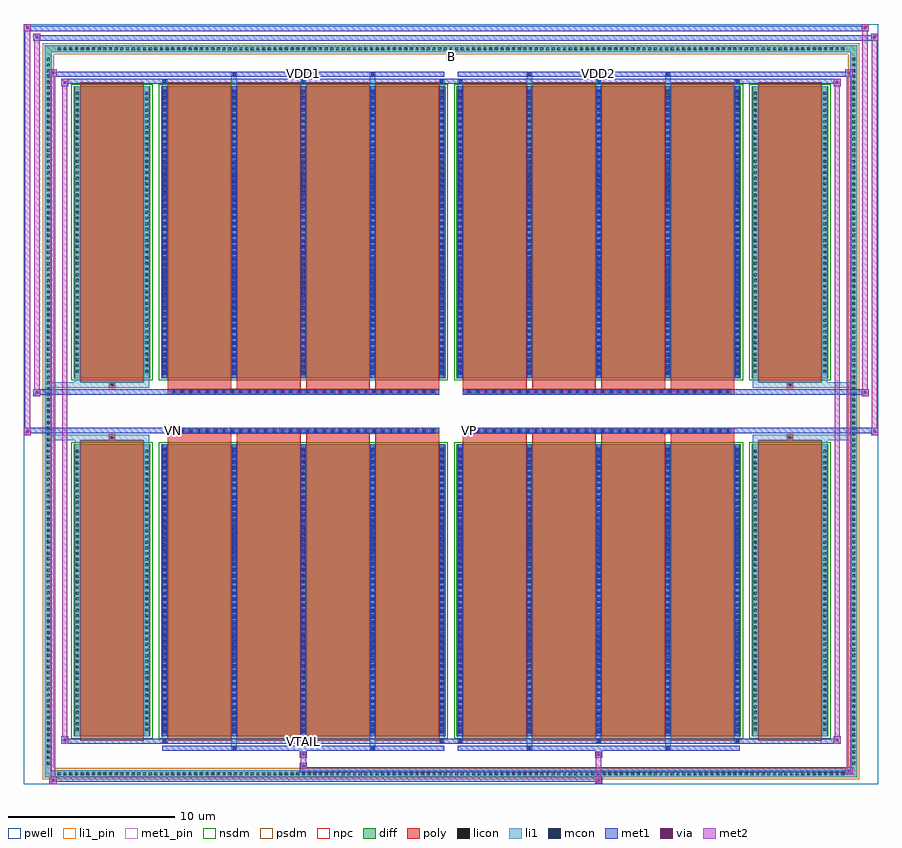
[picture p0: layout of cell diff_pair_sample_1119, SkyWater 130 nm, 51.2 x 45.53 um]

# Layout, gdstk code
import gdstk
lib = gdstk.Library(unit=1e-6, precision=5e-09)
def R(c, l, rs):  # rectangles x0, y0, x1, y1
    for r in rs: c.add(gdstk.rectangle(r[:2], r[2:], *l))
def A(c, l, x, y, w, h, nx, ny, dx, dy):  # array of equal rectangles
    R(c, l, [(x+i*dx, y+j*dy, x+i*dx+w, y+j*dy+h) for i in range(nx) for j in range(ny)])
def P(c, l, *ps):  # polygons
    for p in ps: c.add(gdstk.Polygon(p, *l))
pwell = (64, 44)
diff = (65, 20)
poly = (66, 20)
licon = (66, 44)
li1_pin = (67, 16)
li1 = (67, 20)
mcon = (67, 44)
met1_pin = (68, 16)
met1 = (68, 20)
via = (68, 44)
met2 = (69, 20)
nsdm = (93, 44)
psdm = (94, 20)
npc = (95, 20)

diff_pair_sample_1119 = lib.new_cell('diff_pair_sample_1119')
R(diff_pair_sample_1119, pwell, [(-25.6,-22.33,25.6,23.2), (-22.92,-20.52,-0.01,-0.8), (0.01,-20.52,22.92,-0.8), (-22.92,0.8,-0.01,20.52), (0.01,0.8,22.92,20.52)])
A(diff_pair_sample_1119, diff, -23.665, -21.93, 0.41, 0.41, 139, 2, 0.34, 43.45)
A(diff_pair_sample_1119, diff, -24.33, -21.285, 0.41, 0.41, 1, 125, 0, 0.34)
A(diff_pair_sample_1119, diff, 23.92, -21.285, 0.41, 0.41, 1, 125, 0, 0.34)
R(diff_pair_sample_1119, diff, [(-23.665,-21.93,23.665,-21.52), (-24.33,-21.285,-23.92,21.285), (23.92,-21.285,24.33,21.285), (-22.61,-19.475,-18.01,-1.985), (-17.37,-19.475,-0.32,-1.985), (0.32,-19.475,17.37,-1.985), (18.01,-19.475,22.61,-1.985), (-22.61,1.985,-18.01,19.475), (-17.37,1.985,-0.32,19.475), (0.32,1.985,17.37,19.475), (18.01,1.985,22.61,19.475), (-23.665,21.52,23.665,21.93)])
P(diff_pair_sample_1119, diff, [(24.33,21.93),(-24.33,21.93),(-24.33,-21.52),(-23.92,-21.52),(-23.92,21.52),(23.92,21.52),(23.92,-21.52),(-23.92,-21.52),(-24.33,-21.52),(-24.33,-21.93),(24.33,-21.93)])
A(diff_pair_sample_1119, poly, -16.98, -19.725, 3.82, 17.99, 4, 2, 4.15, 21.46)
A(diff_pair_sample_1119, poly, 0.71, -19.725, 3.82, 17.99, 4, 2, 4.15, 21.46)
A(diff_pair_sample_1119, poly, -16.98, -1.735, 3.82, 0.405, 4, 2, 4.15, 3.065)
A(diff_pair_sample_1119, poly, 0.71, -1.735, 3.82, 0.405, 4, 2, 4.15, 3.065)
A(diff_pair_sample_1119, poly, -16.76, -1.33, 0.33, 0.33, 32, 2, 0.5, 2.33)
A(diff_pair_sample_1119, poly, 0.93, -1.33, 0.33, 0.33, 32, 2, 0.5, 2.33)
R(diff_pair_sample_1119, poly, [(-22.22,-19.725,-18.4,-1.735), (18.4,-19.725,22.22,-1.735), (-20.475,-1.735,-20.145,-1.405), (-20.475,-1.735,-20.145,-1.405), (20.145,-1.735,20.475,-1.405), (20.145,-1.735,20.475,-1.405), (-16.98,-1.33,-0.71,-1), (0.71,-1.33,16.98,-1), (-16.98,1,-0.71,1.33), (0.71,1,16.98,1.33), (-20.475,1.405,-20.145,1.735), (-20.475,1.405,-20.145,1.735), (20.145,1.405,20.475,1.735), (20.145,1.405,20.475,1.735), (-22.22,1.735,-18.4,19.725), (18.4,1.735,22.22,19.725)])
A(diff_pair_sample_1119, licon, -23.545, -21.81, 0.17, 0.17, 139, 2, 0.34, 43.45)
A(diff_pair_sample_1119, licon, -24.21, -21.165, 0.17, 0.17, 1, 125, 0, 0.34)
A(diff_pair_sample_1119, licon, 24.04, -21.165, 0.17, 0.17, 1, 125, 0, 0.34)
A(diff_pair_sample_1119, licon, -22.47, -19.145, 0.17, 0.17, 1, 50, 0, 0.34)
A(diff_pair_sample_1119, licon, -18.32, -19.145, 0.17, 0.17, 1, 50, 0, 0.34)
A(diff_pair_sample_1119, licon, -17.23, -19.145, 0.17, 0.17, 5, 50, 4.15, 0.34)
A(diff_pair_sample_1119, licon, 0.46, -19.145, 0.17, 0.17, 5, 50, 4.15, 0.34)
A(diff_pair_sample_1119, licon, 18.15, -19.145, 0.17, 0.17, 1, 50, 0, 0.34)
A(diff_pair_sample_1119, licon, 22.3, -19.145, 0.17, 0.17, 1, 50, 0, 0.34)
A(diff_pair_sample_1119, licon, -16.68, -1.25, 0.17, 0.17, 32, 2, 0.5, 2.33)
A(diff_pair_sample_1119, licon, 1.01, -1.25, 0.17, 0.17, 32, 2, 0.5, 2.33)
A(diff_pair_sample_1119, licon, -22.47, 2.315, 0.17, 0.17, 1, 50, 0, 0.34)
A(diff_pair_sample_1119, licon, -18.32, 2.315, 0.17, 0.17, 1, 50, 0, 0.34)
A(diff_pair_sample_1119, licon, -17.23, 2.315, 0.17, 0.17, 5, 50, 4.15, 0.34)
A(diff_pair_sample_1119, licon, 0.46, 2.315, 0.17, 0.17, 5, 50, 4.15, 0.34)
A(diff_pair_sample_1119, licon, 18.15, 2.315, 0.17, 0.17, 1, 50, 0, 0.34)
A(diff_pair_sample_1119, licon, 22.3, 2.315, 0.17, 0.17, 1, 50, 0, 0.34)
R(diff_pair_sample_1119, licon, [(-20.395,-1.655,-20.225,-1.485), (20.225,-1.655,20.395,-1.485), (-20.395,1.485,-20.225,1.655), (20.225,1.485,20.395,1.655)])
R(diff_pair_sample_1119, li1_pin, [(-0.25,21.02,0.25,21.52)])
A(diff_pair_sample_1119, li1, -23.625, -21.89, 0.33, 0.33, 139, 2, 0.34, 43.45)
A(diff_pair_sample_1119, li1, -24.29, -21.245, 0.33, 0.33, 1, 125, 0, 0.34)
A(diff_pair_sample_1119, li1, 23.96, -21.245, 0.33, 0.33, 1, 125, 0, 0.34)
A(diff_pair_sample_1119, li1, -17.31, -19.85, 0.33, 0.375, 3, 2, 8.3, 39.325)
A(diff_pair_sample_1119, li1, -17.23, -19.85, 0.17, 0.17, 3, 2, 8.3, 39.53)
A(diff_pair_sample_1119, li1, 0.38, -19.85, 0.33, 0.375, 3, 2, 8.3, 39.325)
A(diff_pair_sample_1119, li1, 0.46, -19.85, 0.17, 0.17, 3, 2, 8.3, 39.53)
A(diff_pair_sample_1119, li1, -17.31, -19.475, 0.33, 17.49, 5, 2, 4.15, 21.46)
A(diff_pair_sample_1119, li1, 0.38, -19.475, 0.33, 17.49, 5, 2, 4.15, 21.46)
A(diff_pair_sample_1119, li1, -17.23, -19.275, 0.17, 0.17, 5, 48, 4.15, 0.36)
A(diff_pair_sample_1119, li1, -17.23, -19.275, 0.17, 17.09, 5, 2, 4.15, 21.46)
A(diff_pair_sample_1119, li1, 0.46, -19.275, 0.17, 0.17, 5, 48, 4.15, 0.36)
A(diff_pair_sample_1119, li1, 0.46, -19.275, 0.17, 17.09, 5, 2, 4.15, 21.46)
A(diff_pair_sample_1119, li1, -22.55, -19.225, 0.33, 0.33, 1, 50, 0, 0.34)
A(diff_pair_sample_1119, li1, -18.4, -19.225, 0.33, 0.33, 1, 50, 0, 0.34)
A(diff_pair_sample_1119, li1, -17.31, -19.225, 0.33, 0.33, 5, 50, 4.15, 0.34)
A(diff_pair_sample_1119, li1, 0.38, -19.225, 0.33, 0.33, 5, 50, 4.15, 0.34)
A(diff_pair_sample_1119, li1, 18.07, -19.225, 0.33, 0.33, 1, 50, 0, 0.34)
A(diff_pair_sample_1119, li1, 22.22, -19.225, 0.33, 0.33, 1, 50, 0, 0.34)
A(diff_pair_sample_1119, li1, -16.76, -1.33, 0.33, 0.33, 32, 2, 0.5, 2.33)
A(diff_pair_sample_1119, li1, 0.93, -1.33, 0.33, 0.33, 32, 2, 0.5, 2.33)
A(diff_pair_sample_1119, li1, -17.23, 2.185, 0.17, 0.17, 5, 48, 4.15, 0.36)
A(diff_pair_sample_1119, li1, 0.46, 2.185, 0.17, 0.17, 5, 48, 4.15, 0.36)
A(diff_pair_sample_1119, li1, -22.55, 2.235, 0.33, 0.33, 1, 50, 0, 0.34)
A(diff_pair_sample_1119, li1, -18.4, 2.235, 0.33, 0.33, 1, 50, 0, 0.34)
A(diff_pair_sample_1119, li1, -17.31, 2.235, 0.33, 0.33, 5, 50, 4.15, 0.34)
A(diff_pair_sample_1119, li1, 0.38, 2.235, 0.33, 0.33, 5, 50, 4.15, 0.34)
A(diff_pair_sample_1119, li1, 18.07, 2.235, 0.33, 0.33, 1, 50, 0, 0.34)
A(diff_pair_sample_1119, li1, 22.22, 2.235, 0.33, 0.33, 1, 50, 0, 0.34)
R(diff_pair_sample_1119, li1, [(-24.33,-21.93,-23.92,-21.52), (-24.33,-21.93,-23.92,-21.52), (-23.92,-21.93,23.92,-21.52), (23.92,-21.93,24.33,-21.52), (23.92,-21.93,24.33,-21.52), (-24.33,-21.52,-23.92,21.52), (23.92,-21.52,24.33,21.52), (-13.16,-20.28,-12.83,-19.475), (-13.08,-20.28,-12.91,-20.11), (-4.86,-20.28,-4.53,-19.475), (-4.78,-20.28,-4.61,-20.11), (4.53,-20.28,4.86,-19.475), (4.61,-20.28,4.78,-20.11), (12.83,-20.28,13.16,-19.475), (12.91,-20.28,13.08,-20.11), (-22.55,-19.475,-22.22,-1.985), (-18.4,-19.475,-18.07,-1.985), (18.07,-19.475,18.4,-1.985), (22.22,-19.475,22.55,-1.985), (-22.55,-1.985,-22.22,-1.405), (-18.4,-1.985,-18.07,-1.405), (18.07,-1.985,18.4,-1.405), (22.22,-1.985,22.55,-1.405), (-24.33,-1.735,-20.475,-1.405), (-22.55,-1.735,-20.475,-1.405), (-20.475,-1.735,-20.145,-1.405), (-20.145,-1.735,-18.07,-1.405), (18.07,-1.735,20.145,-1.405), (20.145,-1.735,20.475,-1.405), (20.145,-1.735,24.33,-1.405), (20.475,-1.735,22.55,-1.405), (-24.33,1.405,-20.475,1.735), (-22.55,1.405,-20.475,1.735), (-22.55,1.405,-22.22,1.985), (-20.475,1.405,-20.145,1.735), (-20.145,1.405,-18.07,1.735), (-18.4,1.405,-18.07,1.985), (18.07,1.405,20.145,1.735), (18.07,1.405,18.4,1.985), (20.145,1.405,20.475,1.735), (20.145,1.405,24.33,1.735), (20.475,1.405,22.55,1.735), (22.22,1.405,22.55,1.985), (-22.55,1.985,-22.22,19.475), (-18.4,1.985,-18.07,19.475), (18.07,1.985,18.4,19.475), (22.22,1.985,22.55,19.475), (-13.16,19.475,-12.83,20.28), (-4.86,19.475,-4.53,20.28), (4.53,19.475,4.86,20.28), (12.83,19.475,13.16,20.28), (-13.08,20.11,-12.91,20.28), (-4.78,20.11,-4.61,20.28), (4.61,20.11,4.78,20.28), (12.91,20.11,13.08,20.28), (-24.33,21.52,-23.92,21.93), (-24.33,21.52,-23.92,21.93), (-23.92,21.52,23.92,21.93), (23.92,21.52,24.33,21.93), (23.92,21.52,24.33,21.93)])
A(diff_pair_sample_1119, mcon, -17.23, -19.85, 0.17, 0.17, 3, 2, 8.3, 39.53)
A(diff_pair_sample_1119, mcon, 0.46, -19.85, 0.17, 0.17, 3, 2, 8.3, 39.53)
A(diff_pair_sample_1119, mcon, -17.23, -19.275, 0.17, 0.17, 5, 48, 4.15, 0.36)
A(diff_pair_sample_1119, mcon, 0.46, -19.275, 0.17, 0.17, 5, 48, 4.15, 0.36)
A(diff_pair_sample_1119, mcon, -16.68, -1.25, 0.17, 0.17, 32, 2, 0.5, 2.33)
A(diff_pair_sample_1119, mcon, 1.01, -1.25, 0.17, 0.17, 32, 2, 0.5, 2.33)
A(diff_pair_sample_1119, mcon, -17.23, 2.185, 0.17, 0.17, 5, 48, 4.15, 0.36)
A(diff_pair_sample_1119, mcon, 0.46, 2.185, 0.17, 0.17, 5, 48, 4.15, 0.36)
R(diff_pair_sample_1119, mcon, [(-13.08,-20.28,-12.91,-20.11), (-4.78,-20.28,-4.61,-20.11), (4.61,-20.28,4.78,-20.11), (12.91,-20.28,13.08,-20.11), (-13.08,20.11,-12.91,20.28), (-4.78,20.11,-4.61,20.28), (4.61,20.11,4.78,20.28), (12.91,20.11,13.08,20.28)])
R(diff_pair_sample_1119, met1_pin, [(-8.98,-19.89,-8.71,-19.62), (-16.73,-1.29,-16.46,-1.02), (0.96,-1.29,1.23,-1.02), (-8.98,20.07,-8.71,20.34), (8.71,20.07,8.98,20.34)])
A(diff_pair_sample_1119, met1, -17.29, -19.91, 0.29, 0.29, 3, 2, 8.3, 39.53)
A(diff_pair_sample_1119, met1, 0.4, -19.91, 0.29, 0.29, 3, 2, 8.3, 39.53)
A(diff_pair_sample_1119, met1, -17.29, -19.475, 0.29, 17.49, 5, 2, 4.15, 21.46)
A(diff_pair_sample_1119, met1, 0.4, -19.475, 0.29, 17.49, 5, 2, 4.15, 21.46)
A(diff_pair_sample_1119, met1, -17.29, -19.335, 0.29, 0.29, 5, 48, 4.15, 0.36)
A(diff_pair_sample_1119, met1, 0.4, -19.335, 0.29, 0.29, 5, 48, 4.15, 0.36)
A(diff_pair_sample_1119, met1, -16.74, -1.31, 0.29, 0.29, 32, 2, 0.5, 2.33)
A(diff_pair_sample_1119, met1, 0.95, -1.31, 0.29, 0.29, 32, 2, 0.5, 2.33)
A(diff_pair_sample_1119, met1, -17.29, 2.125, 0.29, 0.29, 5, 48, 4.15, 0.36)
A(diff_pair_sample_1119, met1, 0.4, 2.125, 0.29, 0.29, 5, 48, 4.15, 0.36)
R(diff_pair_sample_1119, met1, [(-24.06,-22.33,-23.63,-21.9), (8.63,-22.33,9.06,-21.9), (-24.06,-22.19,9.06,-21.9), (23.63,-21.76,24.06,-21.33), (-9.06,-21.62,24.06,-21.33), (-9.06,-21.48,-8.63,-21.05), (-9.06,-20.77,-8.63,-20.34), (8.63,-20.77,9.06,-20.34), (-17.29,-20.34,-0.4,-20.05), (-13.14,-20.34,-12.85,-20.05), (-4.84,-20.34,-4.55,-20.05), (0.4,-20.34,17.29,-20.05), (4.55,-20.34,4.84,-20.05), (12.85,-20.34,13.14,-20.05), (-23.35,-19.91,-22.92,-19.48), (-23.35,-19.91,-17.29,-19.62), (-17.29,-19.91,-0.4,-19.62), (-0.4,-19.91,0.4,-19.62), (0.4,-19.91,17.29,-19.62), (17.29,-19.91,23.35,-19.62), (22.92,-19.91,23.35,-19.48), (-25.6,-1.43,-25.17,-1), (25.17,-1.43,25.6,-1), (-25.6,-1.33,-0.71,-1), (-16.98,-1.33,-0.71,-1), (0.71,-1.33,16.98,-1), (0.71,-1.33,25.6,-1), (-25.03,0.9,-24.6,1.33), (24.6,0.9,25.03,1.33), (-25.03,1,-16.98,1.33), (-16.98,1,-0.71,1.33), (0.71,1,16.98,1.33), (16.98,1,25.03,1.33), (-23.35,19.48,-22.92,19.91), (22.92,19.48,23.35,19.91), (-23.35,19.62,-17.29,19.91), (-17.29,19.62,-0.4,19.91), (-0.4,19.62,0.4,19.91), (0.4,19.62,17.29,19.91), (17.29,19.62,23.35,19.91), (-24.06,20.05,-23.63,20.48), (-24.06,20.05,-17.29,20.34), (-17.29,20.05,-0.4,20.34), (-13.14,20.05,-12.85,20.34), (-4.84,20.05,-4.55,20.34), (0.4,20.05,17.29,20.34), (4.55,20.05,4.84,20.34), (12.85,20.05,13.14,20.34), (17.29,20.05,24.06,20.34), (23.63,20.05,24.06,20.48), (-25.03,22.2,-24.6,22.63), (-25.03,22.2,-22.92,22.53), (-22.92,22.2,22.92,22.53), (22.92,22.2,25.6,22.53), (25.17,22.2,25.6,22.63), (-25.6,22.77,-25.17,23.2), (-25.6,22.77,-22.92,23.1), (-22.92,22.77,22.92,23.1), (22.92,22.77,25.03,23.1), (24.6,22.77,25.03,23.2)])
R(diff_pair_sample_1119, via, [(-23.92,-22.19,-23.77,-22.04), (8.77,-22.19,8.92,-22.04), (23.77,-21.62,23.92,-21.47), (-8.92,-21.34,-8.77,-21.19), (-8.92,-20.63,-8.77,-20.48), (8.77,-20.63,8.92,-20.48), (-23.21,-19.77,-23.06,-19.62), (23.06,-19.77,23.21,-19.62), (-25.46,-1.29,-25.31,-1.14), (25.31,-1.29,25.46,-1.14), (-24.89,1.04,-24.74,1.19), (24.74,1.04,24.89,1.19), (-23.21,19.62,-23.06,19.77), (23.06,19.62,23.21,19.77), (-23.92,20.19,-23.77,20.34), (23.77,20.19,23.92,20.34), (-24.89,22.34,-24.74,22.49), (25.31,22.34,25.46,22.49), (-25.46,22.91,-25.31,23.06), (24.74,22.91,24.89,23.06)])
R(diff_pair_sample_1119, met2, [(-24.06,-22.33,-23.63,-21.9), (-23.99,-22.33,-23.7,20.48), (-23.7,-22.33,-23.63,-21.9), (-24.01,-22.28,-23.68,-21.95), (8.68,-22.28,9.01,-21.95), (8.68,-21.95,9.01,-20.72), (23.63,-21.76,24.06,-21.33), (23.7,-21.76,23.99,20.48), (23.99,-21.76,24.06,-21.33), (23.68,-21.71,24.01,-21.38), (-9.01,-21.43,-8.68,-21.1), (-9.01,-21.1,-8.68,-20.72), (-9.01,-20.72,-8.68,-20.39), (8.68,-20.72,9.01,-20.39), (-23.35,-19.91,-22.92,-19.48), (-23.28,-19.91,-22.99,19.91), (-22.99,-19.91,-22.92,-19.48), (22.92,-19.91,23.35,-19.48), (22.99,-19.91,23.28,19.91), (23.28,-19.91,23.35,-19.48), (-23.3,-19.86,-22.97,-19.53), (22.97,-19.86,23.3,-19.53), (-25.6,-1.43,-25.17,-1), (-25.55,-1.43,-25.22,23.2), (-25.22,-1.43,-25.17,-1), (25.17,-1.43,25.6,-1), (25.22,-1.43,25.55,22.63), (25.55,-1.43,25.6,-1), (-25.55,-1.38,-25.22,-1.05), (25.22,-1.38,25.55,-1.05), (-25.03,0.9,-24.6,1.33), (-24.98,0.9,-24.65,22.63), (-24.65,0.9,-24.6,1.33), (24.6,0.9,25.03,1.33), (24.65,0.9,24.98,23.2), (24.98,0.9,25.03,1.33), (-24.98,0.95,-24.65,1.28), (24.65,0.95,24.98,1.28), (-23.35,19.48,-22.92,19.91), (-22.99,19.48,-22.92,19.91), (22.92,19.48,23.35,19.91), (23.28,19.48,23.35,19.91), (-23.3,19.53,-22.97,19.86), (22.97,19.53,23.3,19.86), (-24.06,20.05,-23.63,20.48), (-23.7,20.05,-23.63,20.48), (23.63,20.05,24.06,20.48), (23.99,20.05,24.06,20.48), (-24.01,20.1,-23.68,20.43), (23.68,20.1,24.01,20.43), (-25.03,22.2,-24.6,22.63), (-24.65,22.2,-24.6,22.63), (25.17,22.2,25.6,22.63), (25.55,22.2,25.6,22.63), (-24.98,22.25,-24.65,22.58), (25.22,22.25,25.55,22.58), (-25.6,22.77,-25.17,23.2), (-25.22,22.77,-25.17,23.2), (24.6,22.77,25.03,23.2), (24.98,22.77,25.03,23.2), (-25.55,22.82,-25.22,23.15), (24.65,22.82,24.98,23.15)])
R(diff_pair_sample_1119, nsdm, [(-22.74,-19.605,-17.88,-1.855), (-17.5,-19.605,-0.19,-1.855), (0.19,-19.605,17.5,-1.855), (17.88,-19.605,22.74,-1.855), (-22.74,1.855,-17.88,19.605), (-17.5,1.855,-0.19,19.605), (0.19,1.855,17.5,19.605), (17.88,1.855,22.74,19.605)])
P(diff_pair_sample_1119, psdm, [(24.46,22.06),(-24.46,22.06),(-24.46,-21.39),(-23.79,-21.39),(-23.79,21.39),(23.79,21.39),(23.79,-21.39),(-23.79,-21.39),(-24.46,-21.39),(-24.46,-22.06),(24.46,-22.06)])
A(diff_pair_sample_1119, npc, -16.78, -1.35, 0.37, 0.37, 32, 2, 0.5, 2.33)
A(diff_pair_sample_1119, npc, 0.91, -1.35, 0.37, 0.37, 32, 2, 0.5, 2.33)
R(diff_pair_sample_1119, npc, [(-20.495,-1.755,-20.125,-1.385), (20.125,-1.755,20.495,-1.385), (-16.78,-1.35,-15.91,-0.98), (-16.78,-1.35,-15.91,-0.98), (-16.28,-1.35,-15.41,-0.98), (-16.28,-1.35,-15.41,-0.98), (-15.78,-1.35,-14.91,-0.98), (-15.78,-1.35,-14.91,-0.98), (-15.28,-1.35,-14.41,-0.98), (-15.28,-1.35,-14.41,-0.98), (-14.78,-1.35,-13.91,-0.98), (-14.78,-1.35,-13.91,-0.98), (-14.28,-1.35,-13.41,-0.98), (-14.28,-1.35,-13.41,-0.98), (-13.78,-1.35,-12.91,-0.98), (-13.78,-1.35,-12.91,-0.98), (-13.28,-1.35,-12.41,-0.98), (-13.28,-1.35,-12.41,-0.98), (-12.78,-1.35,-11.91,-0.98), (-12.78,-1.35,-11.91,-0.98), (-12.28,-1.35,-11.41,-0.98), (-12.28,-1.35,-11.41,-0.98), (-11.78,-1.35,-10.91,-0.98), (-11.78,-1.35,-10.91,-0.98), (-11.28,-1.35,-10.41,-0.98), (-11.28,-1.35,-10.41,-0.98), (-10.78,-1.35,-9.91,-0.98), (-10.78,-1.35,-9.91,-0.98), (-10.28,-1.35,-9.41,-0.98), (-10.28,-1.35,-9.41,-0.98), (-9.78,-1.35,-8.91,-0.98), (-9.78,-1.35,-8.91,-0.98), (-9.28,-1.35,-8.41,-0.98), (-9.28,-1.35,-8.41,-0.98), (-8.78,-1.35,-7.91,-0.98), (-8.78,-1.35,-7.91,-0.98), (-8.28,-1.35,-7.41,-0.98), (-8.28,-1.35,-7.41,-0.98), (-7.78,-1.35,-6.91,-0.98), (-7.78,-1.35,-6.91,-0.98), (-7.28,-1.35,-6.41,-0.98), (-7.28,-1.35,-6.41,-0.98), (-6.78,-1.35,-5.91,-0.98), (-6.78,-1.35,-5.91,-0.98), (-6.28,-1.35,-5.41,-0.98), (-6.28,-1.35,-5.41,-0.98), (-5.78,-1.35,-4.91,-0.98), (-5.78,-1.35,-4.91,-0.98), (-5.28,-1.35,-4.41,-0.98), (-5.28,-1.35,-4.41,-0.98), (-4.78,-1.35,-3.91,-0.98), (-4.78,-1.35,-3.91,-0.98), (-4.28,-1.35,-3.41,-0.98), (-4.28,-1.35,-3.41,-0.98), (-3.78,-1.35,-2.91,-0.98), (-3.78,-1.35,-2.91,-0.98), (-3.28,-1.35,-2.41,-0.98), (-3.28,-1.35,-2.41,-0.98), (-2.78,-1.35,-1.91,-0.98), (-2.78,-1.35,-1.91,-0.98), (-2.28,-1.35,-1.41,-0.98), (-2.28,-1.35,-1.41,-0.98), (-1.78,-1.35,-0.91,-0.98), (-1.78,-1.35,-0.91,-0.98), (0.91,-1.35,1.78,-0.98), (0.91,-1.35,1.78,-0.98), (1.41,-1.35,2.28,-0.98), (1.41,-1.35,2.28,-0.98), (1.91,-1.35,2.78,-0.98), (1.91,-1.35,2.78,-0.98), (2.41,-1.35,3.28,-0.98), (2.41,-1.35,3.28,-0.98), (2.91,-1.35,3.78,-0.98), (2.91,-1.35,3.78,-0.98), (3.41,-1.35,4.28,-0.98), (3.41,-1.35,4.28,-0.98), (3.91,-1.35,4.78,-0.98), (3.91,-1.35,4.78,-0.98), (4.41,-1.35,5.28,-0.98), (4.41,-1.35,5.28,-0.98), (4.91,-1.35,5.78,-0.98), (4.91,-1.35,5.78,-0.98), (5.41,-1.35,6.28,-0.98), (5.41,-1.35,6.28,-0.98), (5.91,-1.35,6.78,-0.98), (5.91,-1.35,6.78,-0.98), (6.41,-1.35,7.28,-0.98), (6.41,-1.35,7.28,-0.98), (6.91,-1.35,7.78,-0.98), (6.91,-1.35,7.78,-0.98), (7.41,-1.35,8.28,-0.98), (7.41,-1.35,8.28,-0.98), (7.91,-1.35,8.78,-0.98), (7.91,-1.35,8.78,-0.98), (8.41,-1.35,9.28,-0.98), (8.41,-1.35,9.28,-0.98), (8.91,-1.35,9.78,-0.98), (8.91,-1.35,9.78,-0.98), (9.41,-1.35,10.28,-0.98), (9.41,-1.35,10.28,-0.98), (9.91,-1.35,10.78,-0.98), (9.91,-1.35,10.78,-0.98), (10.41,-1.35,11.28,-0.98), (10.41,-1.35,11.28,-0.98), (10.91,-1.35,11.78,-0.98), (10.91,-1.35,11.78,-0.98), (11.41,-1.35,12.28,-0.98), (11.41,-1.35,12.28,-0.98), (11.91,-1.35,12.78,-0.98), (11.91,-1.35,12.78,-0.98), (12.41,-1.35,13.28,-0.98), (12.41,-1.35,13.28,-0.98), (12.91,-1.35,13.78,-0.98), (12.91,-1.35,13.78,-0.98), (13.41,-1.35,14.28,-0.98), (13.41,-1.35,14.28,-0.98), (13.91,-1.35,14.78,-0.98), (13.91,-1.35,14.78,-0.98), (14.41,-1.35,15.28,-0.98), (14.41,-1.35,15.28,-0.98), (14.91,-1.35,15.78,-0.98), (14.91,-1.35,15.78,-0.98), (15.41,-1.35,16.28,-0.98), (15.41,-1.35,16.28,-0.98), (15.91,-1.35,16.78,-0.98), (15.91,-1.35,16.78,-0.98), (-16.78,0.98,-15.91,1.35), (-16.78,0.98,-15.91,1.35), (-16.28,0.98,-15.41,1.35), (-16.28,0.98,-15.41,1.35), (-15.78,0.98,-14.91,1.35), (-15.78,0.98,-14.91,1.35), (-15.28,0.98,-14.41,1.35), (-15.28,0.98,-14.41,1.35), (-14.78,0.98,-13.91,1.35), (-14.78,0.98,-13.91,1.35), (-14.28,0.98,-13.41,1.35), (-14.28,0.98,-13.41,1.35), (-13.78,0.98,-12.91,1.35), (-13.78,0.98,-12.91,1.35), (-13.28,0.98,-12.41,1.35), (-13.28,0.98,-12.41,1.35), (-12.78,0.98,-11.91,1.35), (-12.78,0.98,-11.91,1.35), (-12.28,0.98,-11.41,1.35), (-12.28,0.98,-11.41,1.35), (-11.78,0.98,-10.91,1.35), (-11.78,0.98,-10.91,1.35), (-11.28,0.98,-10.41,1.35), (-11.28,0.98,-10.41,1.35), (-10.78,0.98,-9.91,1.35), (-10.78,0.98,-9.91,1.35), (-10.28,0.98,-9.41,1.35), (-10.28,0.98,-9.41,1.35), (-9.78,0.98,-8.91,1.35), (-9.78,0.98,-8.91,1.35), (-9.28,0.98,-8.41,1.35), (-9.28,0.98,-8.41,1.35), (-8.78,0.98,-7.91,1.35), (-8.78,0.98,-7.91,1.35), (-8.28,0.98,-7.41,1.35), (-8.28,0.98,-7.41,1.35), (-7.78,0.98,-6.91,1.35), (-7.78,0.98,-6.91,1.35), (-7.28,0.98,-6.41,1.35), (-7.28,0.98,-6.41,1.35), (-6.78,0.98,-5.91,1.35), (-6.78,0.98,-5.91,1.35), (-6.28,0.98,-5.41,1.35), (-6.28,0.98,-5.41,1.35), (-5.78,0.98,-4.91,1.35), (-5.78,0.98,-4.91,1.35), (-5.28,0.98,-4.41,1.35), (-5.28,0.98,-4.41,1.35), (-4.78,0.98,-3.91,1.35), (-4.78,0.98,-3.91,1.35), (-4.28,0.98,-3.41,1.35), (-4.28,0.98,-3.41,1.35), (-3.78,0.98,-2.91,1.35), (-3.78,0.98,-2.91,1.35), (-3.28,0.98,-2.41,1.35), (-3.28,0.98,-2.41,1.35), (-2.78,0.98,-1.91,1.35), (-2.78,0.98,-1.91,1.35), (-2.28,0.98,-1.41,1.35), (-2.28,0.98,-1.41,1.35), (-1.78,0.98,-0.91,1.35), (-1.78,0.98,-0.91,1.35), (0.91,0.98,1.78,1.35), (0.91,0.98,1.78,1.35), (1.41,0.98,2.28,1.35), (1.41,0.98,2.28,1.35), (1.91,0.98,2.78,1.35), (1.91,0.98,2.78,1.35), (2.41,0.98,3.28,1.35), (2.41,0.98,3.28,1.35), (2.91,0.98,3.78,1.35), (2.91,0.98,3.78,1.35), (3.41,0.98,4.28,1.35), (3.41,0.98,4.28,1.35), (3.91,0.98,4.78,1.35), (3.91,0.98,4.78,1.35), (4.41,0.98,5.28,1.35), (4.41,0.98,5.28,1.35), (4.91,0.98,5.78,1.35), (4.91,0.98,5.78,1.35), (5.41,0.98,6.28,1.35), (5.41,0.98,6.28,1.35), (5.91,0.98,6.78,1.35), (5.91,0.98,6.78,1.35), (6.41,0.98,7.28,1.35), (6.41,0.98,7.28,1.35), (6.91,0.98,7.78,1.35), (6.91,0.98,7.78,1.35), (7.41,0.98,8.28,1.35), (7.41,0.98,8.28,1.35), (7.91,0.98,8.78,1.35), (7.91,0.98,8.78,1.35), (8.41,0.98,9.28,1.35), (8.41,0.98,9.28,1.35), (8.91,0.98,9.78,1.35), (8.91,0.98,9.78,1.35), (9.41,0.98,10.28,1.35), (9.41,0.98,10.28,1.35), (9.91,0.98,10.78,1.35), (9.91,0.98,10.78,1.35), (10.41,0.98,11.28,1.35), (10.41,0.98,11.28,1.35), (10.91,0.98,11.78,1.35), (10.91,0.98,11.78,1.35), (11.41,0.98,12.28,1.35), (11.41,0.98,12.28,1.35), (11.91,0.98,12.78,1.35), (11.91,0.98,12.78,1.35), (12.41,0.98,13.28,1.35), (12.41,0.98,13.28,1.35), (12.91,0.98,13.78,1.35), (12.91,0.98,13.78,1.35), (13.41,0.98,14.28,1.35), (13.41,0.98,14.28,1.35), (13.91,0.98,14.78,1.35), (13.91,0.98,14.78,1.35), (14.41,0.98,15.28,1.35), (14.41,0.98,15.28,1.35), (14.91,0.98,15.78,1.35), (14.91,0.98,15.78,1.35), (15.41,0.98,16.28,1.35), (15.41,0.98,16.28,1.35), (15.91,0.98,16.78,1.35), (15.91,0.98,16.78,1.35), (-20.495,1.385,-20.125,1.755), (20.125,1.385,20.495,1.755)])
diff_pair_sample_1119.add(gdstk.Label('VTAIL', (-8.845,-19.755), layer=68, texttype=5))
diff_pair_sample_1119.add(gdstk.Label('VN', (-16.595,-1.155), layer=68, texttype=5))
diff_pair_sample_1119.add(gdstk.Label('VP', (1.095,-1.155), layer=68, texttype=5))
diff_pair_sample_1119.add(gdstk.Label('B', (0,21.27), layer=67, texttype=5))
diff_pair_sample_1119.add(gdstk.Label('VDD2', (8.845,20.205), layer=68, texttype=5))
diff_pair_sample_1119.add(gdstk.Label('VDD1', (-8.845,20.205), layer=68, texttype=5))

lib.write_gds('diff_pair_sample_1119.gds')
